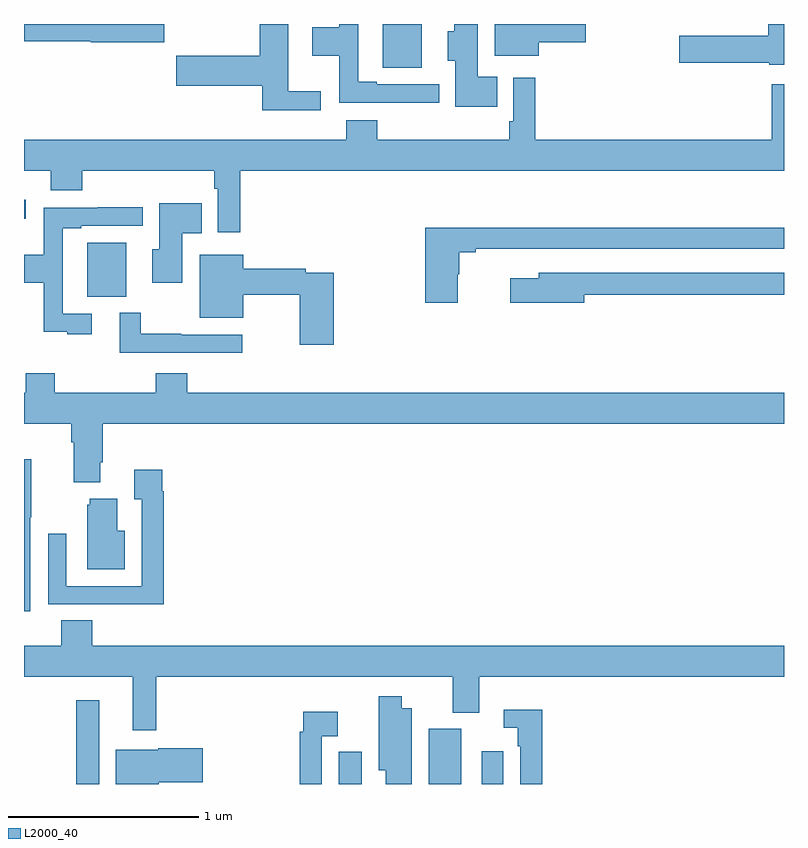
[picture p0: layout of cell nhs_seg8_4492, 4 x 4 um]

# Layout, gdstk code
import gdstk
lib = gdstk.Library(unit=1e-6, precision=1e-09)
def R(c, l, rs):  # rectangles x0, y0, x1, y1
    for r in rs: c.add(gdstk.rectangle(r[:2], r[2:], *l))
def P(c, l, *ps):  # polygons
    for p in ps: c.add(gdstk.Polygon(p, *l))
L2000_40 = (2000, 40)

nhs_seg8_4492 = lib.new_cell('nhs_seg8_4492')
R(nhs_seg8_4492, L2000_40, [(383.274,1151.9,383.395,1152.34), (384.656,1151.9,384.778,1152.071), (385.13,1151.9,385.3,1152.19), (385.41,1151.9,385.522,1152.073), (383.333,1154.465,383.539,1154.749), (383,1154.876,383.008,1154.974), (384.887,1155.671,385.093,1155.9)])
P(nhs_seg8_4492, L2000_40, [(385.708,1155.803),(385.957,1155.803),(385.957,1155.9),(385.478,1155.9),(385.478,1155.734),(385.708,1155.734)],
  [(385.186,1155.582),(384.856,1155.582),(384.856,1155.595),(384.759,1155.595),(384.759,1155.9),(384.658,1155.9),(384.658,1155.882),(384.516,1155.882),(384.516,1155.734),(384.658,1155.734),(384.658,1155.486),(384.943,1155.486),(384.943,1155.485),(385.186,1155.485)],
  [(383.737,1155.9),(383,1155.9),(383,1155.808),(383.352,1155.808),(383.352,1155.803),(383.737,1155.803)],
  [(385.49,1155.622),(385.387,1155.622),(385.387,1155.9),(385.265,1155.9),(385.265,1155.861),(385.229,1155.861),(385.229,1155.706),(385.271,1155.706),(385.271,1155.464),(385.49,1155.464)],
  [(384.562,1155.545),(384.391,1155.545),(384.391,1155.9),(384.242,1155.9),(384.242,1155.733),(383.802,1155.733),(383.802,1155.575),(384.254,1155.575),(384.254,1155.446),(384.562,1155.446)],
  [(387,1155.9),(386.918,1155.9),(386.918,1155.839),(386.448,1155.839),(386.448,1155.697),(386.922,1155.697),(386.922,1155.686),(387,1155.686)],
  [(387,1155.583),(386.935,1155.583),(386.935,1155.292),(385.691,1155.292),(385.691,1155.616),(385.575,1155.616),(385.575,1155.388),(385.555,1155.388),(385.555,1155.292),(384.86,1155.292),(384.86,1155.394),(384.695,1155.394),(384.695,1155.292),(383,1155.292),(383,1155.128),(383.141,1155.128),(383.141,1155.026),(383.306,1155.026),(383.306,1155.128),(384.001,1155.128),(384.001,1155.032),(384.021,1155.032),(384.021,1154.805),(384.137,1154.805),(384.137,1155.128),(387,1155.128)],
  [(383.833,1154.798),(383.936,1154.798),(383.936,1154.956),(383.711,1154.956),(383.711,1154.715),(383.675,1154.715),(383.675,1154.537),(383.833,1154.537)],
  [(383.356,1154.376),(383.205,1154.376),(383.205,1154.826),(383.302,1154.826),(383.302,1154.838),(383.626,1154.838),(383.626,1154.936),(383.389,1154.936),(383.389,1154.934),(383.104,1154.934),(383.104,1154.686),(383,1154.686),(383,1154.539),(383.104,1154.539),(383.104,1154.279),(383.228,1154.279),(383.228,1154.268),(383.356,1154.268)],
  [(385.282,1154.583),(385.29,1154.583),(385.29,1154.698),(385.378,1154.698),(385.378,1154.717),(385.572,1154.717),(385.572,1154.718),(387,1154.718),(387,1154.827),(385.112,1154.827),(385.112,1154.433),(385.282,1154.433)],
  [(384.629,1154.592),(384.482,1154.592),(384.482,1154.612),(384.154,1154.612),(384.154,1154.686),(383.924,1154.686),(383.924,1154.354),(384.154,1154.354),(384.154,1154.476),(384.451,1154.476),(384.451,1154.211),(384.629,1154.211)],
  [(385.948,1154.476),(387,1154.476),(387,1154.592),(385.709,1154.592),(385.709,1154.563),(385.56,1154.563),(385.56,1154.434),(385.948,1154.434)],
  [(384.148,1154.265),(383.828,1154.265),(383.828,1154.27),(383.614,1154.27),(383.614,1154.38),(383.504,1154.38),(383.504,1154.169),(384.148,1154.169)],
  [(383.401,1153.594),(383.414,1153.594),(383.414,1153.796),(387,1153.796),(387,1153.96),(383.858,1153.96),(383.858,1154.062),(383.693,1154.062),(383.693,1153.96),(383.162,1153.96),(383.162,1154.062),(383.009,1154.062),(383.009,1153.96),(383,1153.96),(383,1153.796),(383.249,1153.796),(383.249,1153.7),(383.261,1153.7),(383.261,1153.487),(383.401,1153.487)],
  [(383.034,1153.303),(383.037,1153.303),(383.037,1153.61),(383,1153.61),(383,1152.81),(383.034,1152.81)],
  [(383.735,1153.442),(383.728,1153.442),(383.728,1153.555),(383.579,1153.555),(383.579,1153.399),(383.619,1153.399),(383.619,1152.942),(383.223,1152.942),(383.223,1153.216),(383.127,1153.216),(383.127,1152.846),(383.443,1152.846),(383.443,1152.845),(383.735,1152.845)],
  [(383.53,1153.234),(383.491,1153.234),(383.491,1153.402),(383.345,1153.402),(383.345,1153.371),(383.333,1153.371),(383.333,1153.031),(383.53,1153.031)],
  [(383.195,1152.761),(383.195,1152.628),(383,1152.628),(383,1152.464),(383.573,1152.464),(383.573,1152.183),(383.695,1152.183),(383.695,1152.464),(385.256,1152.464),(385.256,1152.275),(385.396,1152.275),(385.396,1152.464),(387,1152.464),(387,1152.628),(383.36,1152.628),(383.36,1152.761)],
  [(385.042,1152.298),(384.988,1152.298),(384.988,1152.361),(384.866,1152.361),(384.866,1151.972),(384.905,1151.972),(384.905,1151.9),(385.042,1151.9)],
  [(385.727,1152.292),(385.524,1152.292),(385.524,1152.195),(385.599,1152.195),(385.599,1152.098),(385.611,1152.098),(385.611,1151.9),(385.727,1151.9)],
  [(384.567,1152.152),(384.65,1152.152),(384.65,1152.28),(384.471,1152.28),(384.471,1152.176),(384.451,1152.176),(384.451,1151.9),(384.567,1151.9)],
  [(383.71,1151.909),(383.941,1151.909),(383.941,1152.087),(383.706,1152.087),(383.706,1152.079),(383.483,1152.079),(383.483,1151.9),(383.71,1151.9)])

lib.write_gds('nhs_seg8_4492.gds')
